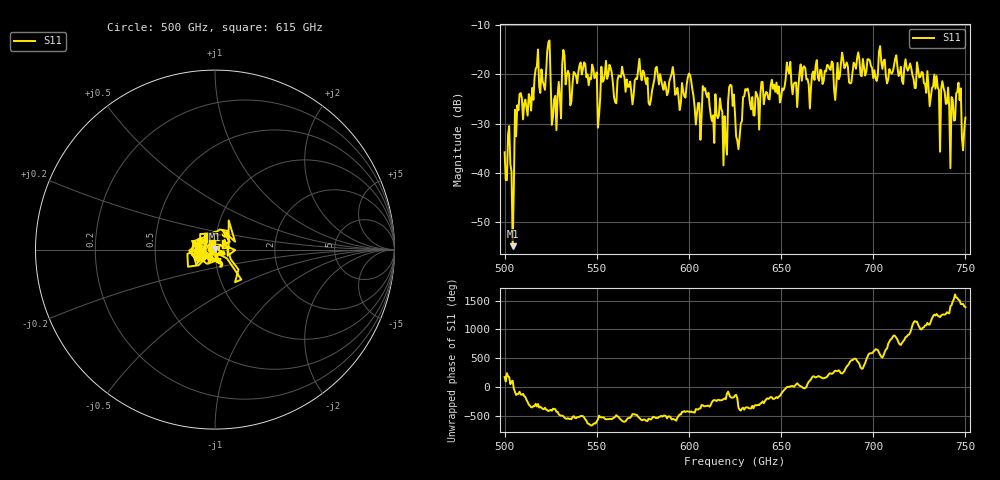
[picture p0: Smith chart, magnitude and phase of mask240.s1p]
!Created with skrf (http://scikit-rf.org).
# GHz S MA R 50.0
!freq magS11 angS11
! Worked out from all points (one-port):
!   401 points, 500 GHz to 750 GHz, reference 50 ohm
!   lowest |S11| = -55.0 dB at 504.4 GHz (marker M1), VSWR 1.00, Z = 49.9 + j0.168 ohm
!   |S11| at or under -10 dB: start of sweep to end of sweep
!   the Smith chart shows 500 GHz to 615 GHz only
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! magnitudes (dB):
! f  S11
! 500 GHz  -35.8
! 504.4 GHz  -55.0
! 508.1 GHz  -24.0
! 523.8 GHz  -13.4
! 526.9 GHz  -25.1
! 531.2 GHz  -17.9
! 548.8 GHz  -20.7
! 551.9 GHz  -24.8
! 553.8 GHz  -21.2
! 562.5 GHz  -20.3
! 579.4 GHz  -25.2
! 590.6 GHz  -19.9
! 593.8 GHz  -22.7
! 600.6 GHz  -20.1
! 605 GHz  -25.8
! 608.8 GHz  -22.8
! 619.4 GHz  -28.5
! 623.1 GHz  -22.3
! 625 GHz  -28.0
! 626.9 GHz  -35.2
! 630.6 GHz  -23.0
! 656.2 GHz  -24.0
! 687.5 GHz  -21.8
! 718.8 GHz  -19.2
! 738.1 GHz  -22.7
! 743.1 GHz  -25.1
! 746.2 GHz  -21.7
! 750 GHz  -28.8
